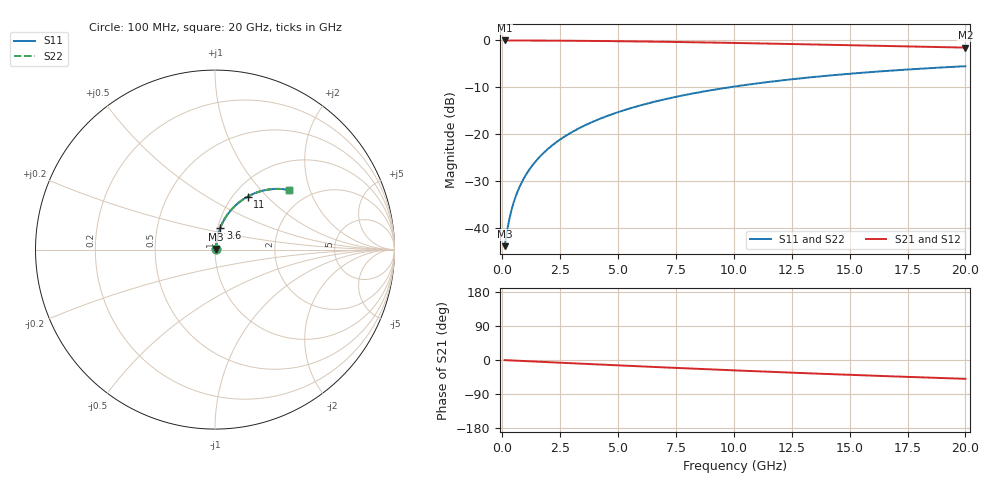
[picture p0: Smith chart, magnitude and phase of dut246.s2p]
! Touchstone file exported from HFSS 2026.1.0
!  File:  C:/ffzhzh/LocalFiles/Ansys_Project_Files/temp_train_TMRDL_246_1782984737_42984.aedt
!  Generated:  05:33:28 PM Jul  2, 2026
!  Design:  TMRDL
!  Project:  temp_train_TMRDL_246_1782984737_42984
! Variables:
!  h_bsmrdl = 2um
!  h_ox = 20um
!  h_rdl = 5um
!  h_sub = 80um
!  h_tmrdl = 3.1um
!  h_tsv = 80um
!  h_via = 3um
!  l_bsmrdl = 300um
!  l_sub = 1077.17um
!  l_tmrdl = 677.17um
!  m_sub = 200um
!  pitch = 52.24um
!  r_tsv = 6um
!  s_tmrdl = 10um
!  w_bsmrdl = 18um
!  w_sub = 500um
!  w_tmrdl = 14.98um
!  x_tsv_center1 = 684.66um
!  x_tsv_center2 = 1002.66um
!  x_tsv_center3 = 1694.81um
!  x_tsv_center4 = 2012.81um
!  x_tsv_center5 = 2704.96um
!  x_tsv_center6 = 3022.96um
# GHz S MA R 50.000000
! Terminal data exported
! Port[1] = TM_RDL1_1_T1
! Port[2] = TM_RDL1_1_T2
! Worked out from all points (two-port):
!   200 points, 100 MHz to 20 GHz, reference 50 ohm
!   highest |S21| = -0.05 dB at 100 MHz (marker M1); lowest = -1.6 dB at 20 GHz (marker M2)
!   |S21| within 3 dB of the highest: start of sweep to end of sweep
!   lowest |S11| = -43.8 dB at 100 MHz (marker M3), VSWR 1.01, Z = 50.5 + j0.373 ohm
!   |S11| at or under -10 dB: start of sweep to 9.831 GHz
!   |S22| runs from -43.8 to -5.5 dB; largest |S21 - S12| = 4.3e-15
!   S11 on the Smith chart (normalised r, x): 100 MHz: 1.01, +0.01; 3.6 GHz: 1.03, +0.25; 11 GHz: 1.16, +0.78; 20 GHz: 1.58, +1.46
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0.1  0.00643 35.0  0.9947 -0.3  0.9947 -0.3  0.00643 35.0
! Gamma 0 0 0 0
! Port Impedance 50 0 50 0
0.2  0.009128 53.7  0.9946 -0.6  0.9946 -0.6  0.009128 53.7
0.3  0.01233 62.8  0.9945 -0.9  0.9945 -0.9  0.01233 62.8
0.4  0.01568 67.9  0.9943 -1.2  0.9943 -1.2  0.01568 67.9
0.5  0.01909 71.1  0.9941 -1.5  0.9941 -1.5  0.01909 71.1
0.6  0.02251 73.2  0.9939 -1.8  0.9939 -1.8  0.02251 73.2
0.8  0.02937 75.8  0.9935 -2.3  0.9935 -2.3  0.02937 75.8
1.1  0.03968 77.7  0.993 -3.2  0.993 -3.2  0.03968 77.7
1.5  0.05346 78.7  0.9921 -4.3  0.9921 -4.3  0.05346 78.7
2.1  0.07412 78.8  0.9906 -6.0  0.9906 -6.0  0.07412 78.8
2.7  0.0947 78.1  0.9886 -7.7  0.9886 -7.7  0.0947 78.1
3.5  0.1219 76.6  0.9853 -10.0  0.9853 -10.0  0.1219 76.6
3.6  0.1252 76.4  0.9848 -10.3  0.9848 -10.3  0.1252 76.4
4.3  0.1486 74.8  0.9812 -12.2  0.9812 -12.2  0.1486 74.8
5  0.1716 73.2  0.9771 -14.1  0.9771 -14.1  0.1716 73.2
6.8  0.2286 68.7  0.9644 -19.0  0.9644 -19.0  0.2286 68.7
8.3  0.2733 64.9  0.9519 -23.0  0.9519 -23.0  0.2733 64.9
10.1  0.3235 60.5  0.9353 -27.6  0.9353 -27.6  0.3235 60.5
11  0.3471 58.3  0.9265 -29.8  0.9265 -29.8  0.3471 58.3
13.4  0.405 52.8  0.902 -35.5  0.902 -35.5  0.405 52.8
16.7  0.4734 45.6  0.8677 -42.9  0.8677 -42.9  0.4734 45.6
20  0.5294 38.9  0.8349 -49.7  0.8349 -49.7  0.5294 38.9
